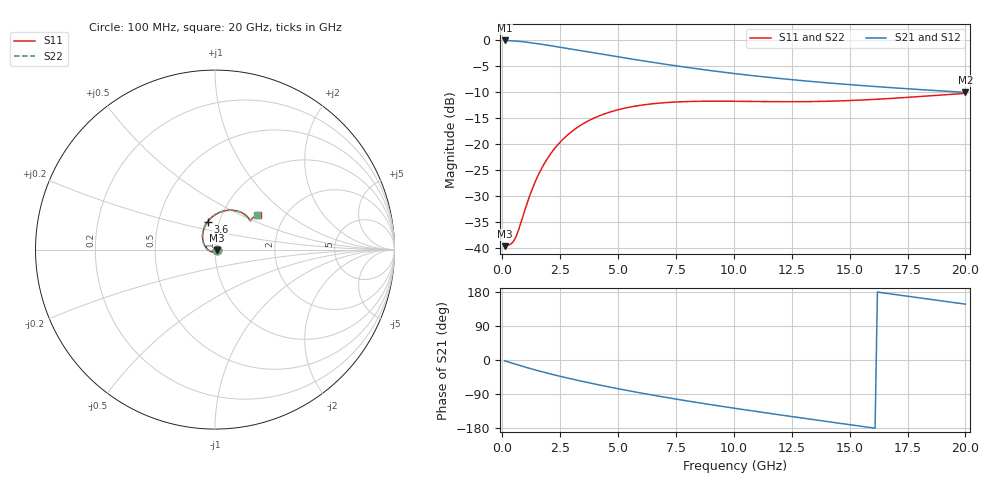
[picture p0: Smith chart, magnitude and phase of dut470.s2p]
! Touchstone file exported from HFSS 2024.1.0
!  File:  C:/UserFiles/LocalFiles/RDL_TSV_Batchsim/temp_RDL_TSV_470_1779729684.aedt
!  Generated:  01:35:59 AM May 26, 2026
!  Design:  RDL_TSV
!  Project:  temp_RDL_TSV_470_1779729684
!  Setup:  Setup1
!  Solution:  Sweep
! Variables:
!  dtsv = 11.05um
!  hbump = 3um
!  htsv = 97.65um
!  ldown = 388.25um
!  lrdl = 405.48um
!  p = 40
!  p1 = 50.42um
!  rhole = 10um
!  subl = 2786.67um
!  t = 450um
!  tdown = 4.21um
!  trdl = 4.52um
!  viad = 10um
!  wdown = 20.45um
!  wrdl = 21.99um
!  xbump = 18um
# GHz S MA R 50.000000
! Terminal data exported
! Port[1] = TM1_1_T1
! Port[2] = TM1_4_T1
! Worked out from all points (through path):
!   200 points, 100 MHz to 20 GHz, reference 50 ohm
!   highest |S21| = -0.12 dB at 100 MHz (marker M1); lowest = -10.1 dB at 20 GHz (marker M2)
!   group delay of S21, straight-line fit = 27.7 ps
!   lowest |S11| = -39.7 dB at 100 MHz (marker M3), VSWR 1.02, Z = 51 - j0.237 ohm
!   |S11| at or under -10 dB: start of sweep to end of sweep
!   |S22| runs from -39.7 to -10.3 dB; largest |S21 - S12| = 2.8e-14
!   S11 on the Smith chart (normalised r, x): 100 MHz: 1.02, -0.00; 3.6 GHz: 0.88, +0.28; 20 GHz: 1.47, +0.62
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0.1  0.01035 -13.0  0.9868 -2.0  0.9868 -2.0  0.01033 -13.3
! Gamma 0 0 0 0
! Port Impedance 50 0 50 0
0.4  0.01097 -61.3  0.9797 -7.8  0.9797 -7.8  0.01112 -62.2
0.6  0.01289 -97.8  0.9726 -11.6  0.9726 -11.6  0.0132 -98.3
1.3  0.03706 -176.2  0.934 -24.1  0.934 -24.1  0.03752 -175.6
1.6  0.05253 166.5  0.9135 -29.2  0.9135 -29.2  0.05296 167.1
1.9  0.06929 152.9  0.8921 -34.0  0.8921 -34.0  0.06968 153.4
2.2  0.08658 141.6  0.8704 -38.6  0.8704 -38.6  0.08691 142.0
2.6  0.1095 128.9  0.8417 -44.5  0.8417 -44.5  0.1097 129.3
3  0.1313 118.2  0.8136 -50.2  0.8136 -50.2  0.1315 118.4
3.5  0.1564 106.7  0.7798 -57.0  0.7798 -57.0  0.1564 106.9
3.6  0.161 104.6  0.7732 -58.3  0.7732 -58.3  0.161 104.8
4.3  0.19 91.7  0.7285 -67.3  0.7285 -67.3  0.1898 91.9
5  0.2126 81.1  0.6868 -75.8  0.6868 -75.8  0.2122 81.2
5.9  0.2334 70.1  0.6375 -86.2  0.6375 -86.2  0.2328 70.2
6.8  0.2465 61.4  0.5934 -95.9  0.5934 -95.9  0.2456 61.5
8.4  0.2562 50.4  0.5271 -112.1  0.5271 -112.1  0.255 50.5
10.1  0.2565 43.4  0.4718 -128.0  0.4718 -128.0  0.2551 43.5
11.7  0.2544 40.2  0.4311 -142.3  0.4311 -142.3  0.2529 40.4
13.4  0.2549 39.2  0.3968 -157.0  0.3968 -157.0  0.2535 39.5
15  0.2606 39.5  0.3708 -170.7  0.3708 -170.7  0.2594 39.8
16.7  0.2725 39.9  0.3479 175.0  0.3479 175.0  0.2715 40.2
20  0.3055 38.7  0.3127 147.4  0.3127 147.4  0.3049 39.1
